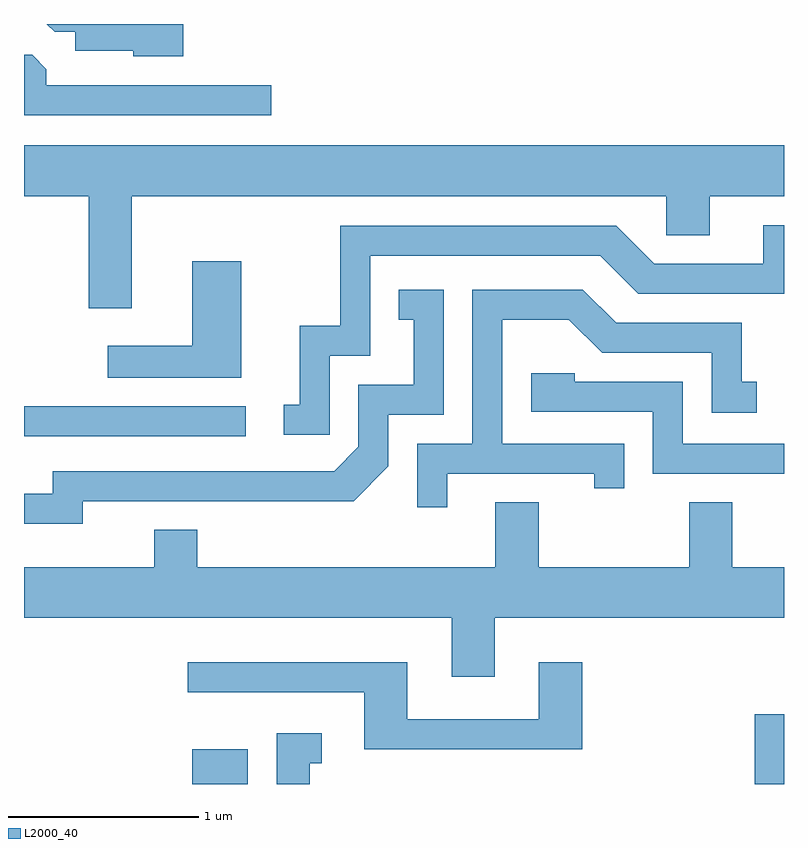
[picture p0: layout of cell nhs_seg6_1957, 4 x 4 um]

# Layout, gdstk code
import gdstk
lib = gdstk.Library(unit=1e-6, precision=1e-09)
def R(c, l, rs):  # rectangles x0, y0, x1, y1
    for r in rs: c.add(gdstk.rectangle(r[:2], r[2:], *l))
def P(c, l, *ps):  # polygons
    for p in ps: c.add(gdstk.Polygon(p, *l))
L2000_40 = (2000, 40)

nhs_seg6_1957 = lib.new_cell('nhs_seg6_1957')
R(nhs_seg6_1957, L2000_40, [(244.496,1660.162,244.789,1660.344), (247.456,1660.162,247.611,1660.529), (243.611,1661.991,244.778,1662.149)])
P(nhs_seg6_1957, L2000_40, [(244.449,1664.162),(243.731,1664.162),(243.772,1664.121),(243.881,1664.121),(243.881,1664.021),(244.186,1664.021),(244.186,1663.991),(244.449,1663.991)],
  [(244.913,1663.839),(243.729,1663.839),(243.729,1663.924),(243.654,1663.999),(243.611,1663.999),(243.611,1663.681),(244.913,1663.681)],
  [(244.179,1663.256),(246.991,1663.256),(246.991,1663.051),(247.219,1663.051),(247.219,1663.256),(247.611,1663.256),(247.611,1663.524),(243.611,1663.524),(243.611,1663.256),(243.951,1663.256),(243.951,1662.666),(244.179,1662.666)],
  [(245.219,1662.416),(245.434,1662.416),(245.434,1662.941),(246.644,1662.941),(246.844,1662.741),(247.611,1662.741),(247.611,1663.104),(247.501,1663.104),(247.501,1662.899),(246.927,1662.899),(246.727,1663.099),(245.276,1663.099),(245.276,1662.574),(245.061,1662.574),(245.061,1662.159),(244.978,1662.159),(244.978,1662.001),(245.219,1662.001)],
  [(244.754,1662.914),(244.496,1662.914),(244.496,1662.469),(244.053,1662.469),(244.053,1662.301),(244.754,1662.301)],
  [(245.839,1661.796),(246.611,1661.796),(246.611,1661.718),(246.769,1661.718),(246.769,1661.954),(246.129,1661.954),(246.129,1662.606),(246.479,1662.606),(246.654,1662.431),(247.231,1662.431),(247.231,1662.116),(247.468,1662.116),(247.468,1662.279),(247.389,1662.279),(247.389,1662.589),(246.727,1662.589),(246.552,1662.764),(245.971,1662.764),(245.971,1661.954),(245.681,1661.954),(245.681,1661.618),(245.839,1661.618)],
  [(243.919,1661.651),(245.347,1661.651),(245.529,1661.834),(245.529,1662.106),(245.819,1662.106),(245.819,1662.764),(245.583,1662.764),(245.583,1662.606),(245.661,1662.606),(245.661,1662.264),(245.371,1662.264),(245.371,1661.937),(245.244,1661.809),(243.761,1661.809),(243.761,1661.689),(243.611,1661.689),(243.611,1661.531),(243.919,1661.531)],
  [(247.611,1661.954),(247.079,1661.954),(247.079,1662.279),(246.509,1662.279),(246.509,1662.324),(246.281,1662.324),(246.281,1662.121),(246.921,1662.121),(246.921,1661.796),(247.611,1661.796)],
  [(246.089,1661.036),(247.611,1661.036),(247.611,1661.304),(247.339,1661.304),(247.339,1661.644),(247.111,1661.644),(247.111,1661.304),(246.319,1661.304),(246.319,1661.644),(246.091,1661.644),(246.091,1661.304),(244.524,1661.304),(244.524,1661.499),(244.296,1661.499),(244.296,1661.304),(243.611,1661.304),(243.611,1661.036),(245.861,1661.036),(245.861,1660.726),(246.089,1660.726)],
  [(246.549,1660.804),(246.321,1660.804),(246.321,1660.504),(245.629,1660.504),(245.629,1660.804),(244.473,1660.804),(244.473,1660.646),(245.401,1660.646),(245.401,1660.346),(246.549,1660.346)],
  [(245.114,1660.271),(245.178,1660.271),(245.178,1660.429),(244.941,1660.429),(244.941,1660.162),(245.114,1660.162)])

lib.write_gds('nhs_seg6_1957.gds')
